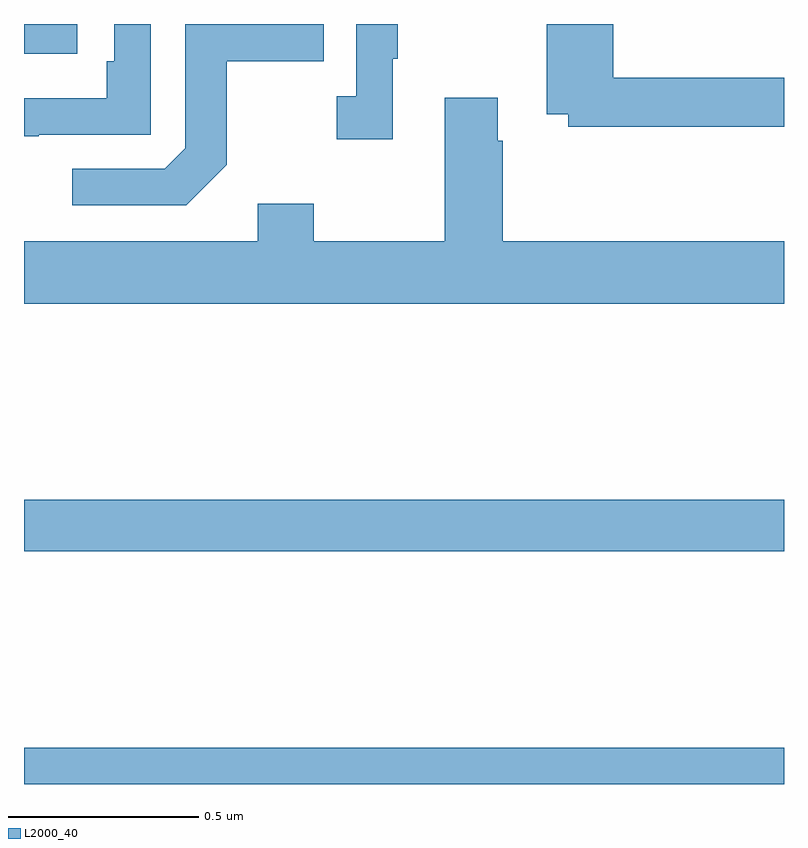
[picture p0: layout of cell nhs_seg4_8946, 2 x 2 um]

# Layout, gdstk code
import gdstk
lib = gdstk.Library(unit=1e-6, precision=1e-09)
def R(c, l, rs):  # rectangles x0, y0, x1, y1
    for r in rs: c.add(gdstk.rectangle(r[:2], r[2:], *l))
def P(c, l, *ps):  # polygons
    for p in ps: c.add(gdstk.Polygon(p, *l))
L2000_40 = (2000, 40)

nhs_seg4_8946 = lib.new_cell('nhs_seg4_8946')
R(nhs_seg4_8946, L2000_40, [(221,784.9,223,784.996), (221,785.512,223,785.648), (221,786.822,221.14,786.9)])
P(nhs_seg4_8946, L2000_40, [(221.039,786.609),(221.334,786.609),(221.334,786.9),(221.238,786.9),(221.238,786.802),(221.218,786.802),(221.218,786.705),(221,786.705),(221,786.604),(221.039,786.604)],
  [(221.533,786.529),(221.533,786.802),(221.789,786.802),(221.789,786.9),(221.424,786.9),(221.424,786.573),(221.37,786.519),(221.127,786.519),(221.127,786.423),(221.427,786.423)],
  [(223,786.758),(222.551,786.758),(222.551,786.9),(222.376,786.9),(222.376,786.662),(222.432,786.662),(222.432,786.63),(223,786.63)],
  [(221.971,786.809),(221.983,786.809),(221.983,786.9),(221.874,786.9),(221.874,786.71),(221.823,786.71),(221.823,786.597),(221.971,786.597)],
  [(223,786.328),(222.26,786.328),(222.26,786.593),(222.247,786.593),(222.247,786.706),(222.107,786.706),(222.107,786.328),(221.763,786.328),(221.763,786.427),(221.615,786.427),(221.615,786.328),(221,786.328),(221,786.164),(223,786.164)])

lib.write_gds('nhs_seg4_8946.gds')
